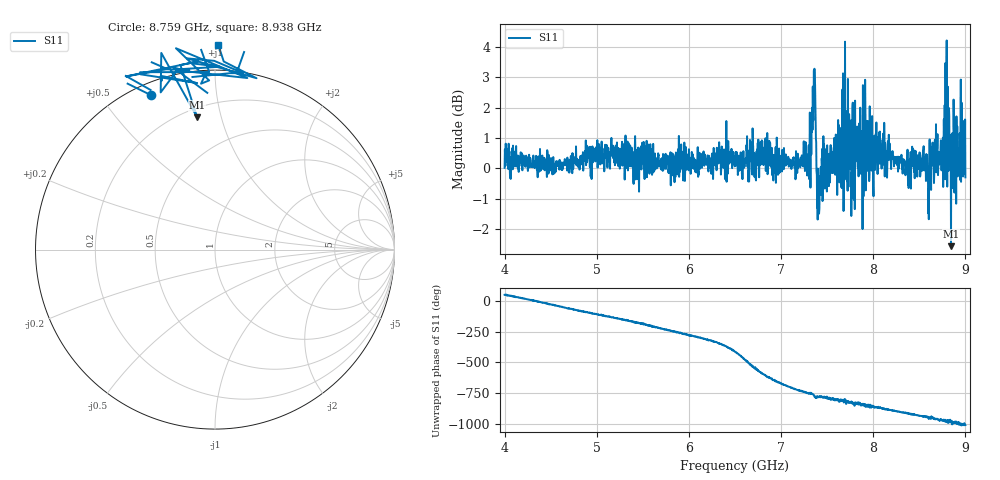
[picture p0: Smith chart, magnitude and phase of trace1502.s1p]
! Created with skrf 1.8.0 (http://scikit-rf.org).
# Hz S RI R 50.0
!freq ReS11 ImS11
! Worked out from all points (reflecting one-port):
!   1601 points, 4 GHz to 9 GHz, reference 50 ohm
!   lowest |S11| = -2.6 dB at 8.844 GHz (marker M1), VSWR 6.83, Z = 12.7 + j42.1 ohm
!   phase of S11 starts at 48 deg and turns -1054 deg over the sweep
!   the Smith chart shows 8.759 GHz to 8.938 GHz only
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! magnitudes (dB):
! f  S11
! 4 GHz  0.0
! 4.625 GHz  -0.1
! 5.25 GHz  0.0
! 5.875 GHz  0.3
! 6.5 GHz  0.1
! 7.125 GHz  0.2
! 7.294 GHz  0.2
! 7.356 GHz  3.2
! 7.412 GHz  -1.5
! 7.481 GHz  -0.4
! 7.588 GHz  -0.2
! 7.669 GHz  -0.2
! 7.75 GHz  0.3
! 7.775 GHz  2.0
! 7.8 GHz  -1.3
! 7.859 GHz  2.0
! 7.928 GHz  1.5
! 7.997 GHz  0.2
! 8.053 GHz  0.7
! 8.375 GHz  -0.1
! 8.559 GHz  0.1
! 8.603 GHz  -1.7
! 8.656 GHz  0.2
! 8.738 GHz  0.6
! 8.8 GHz  0.1
! 8.844 GHz  -2.6
! 8.972 GHz  1.1
! 9 GHz  -0.3
